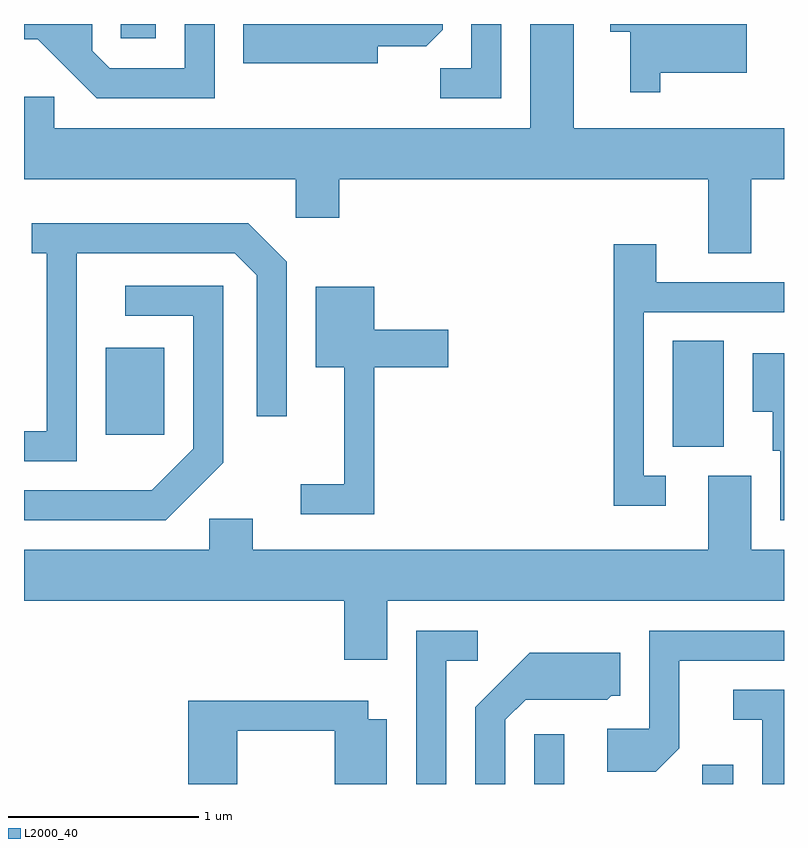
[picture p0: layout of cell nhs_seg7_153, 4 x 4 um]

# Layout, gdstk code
import gdstk
lib = gdstk.Library(unit=1e-6, precision=1e-09)
def R(c, l, rs):  # rectangles x0, y0, x1, y1
    for r in rs: c.add(gdstk.rectangle(r[:2], r[2:], *l))
def P(c, l, *ps):  # polygons
    for p in ps: c.add(gdstk.Polygon(p, *l))
L2000_40 = (2000, 40)

nhs_seg7_153 = lib.new_cell('nhs_seg7_153')
R(nhs_seg7_153, L2000_40, [(192.296,1702.252,192.454,1702.513), (193.181,1702.252,193.344,1702.353), (193.026,1704.026,193.294,1704.584), (190.041,1704.091,190.349,1704.549), (190.121,1706.176,190.304,1706.252)])
P(nhs_seg7_153, L2000_40, [(192.124,1706.252),(191.966,1706.252),(191.966,1706.019),(191.803,1706.019),(191.803,1705.861),(192.124,1705.861)],
  [(193.439,1705.436),(193.611,1705.436),(193.611,1705.704),(192.504,1705.704),(192.504,1706.252),(192.276,1706.252),(192.276,1705.704),(189.769,1705.704),(189.769,1705.869),(189.611,1705.869),(189.611,1705.436),(191.041,1705.436),(191.041,1705.231),(191.269,1705.231),(191.269,1705.436),(193.211,1705.436),(193.211,1705.046),(193.439,1705.046)],
  [(191.474,1706.136),(191.729,1706.136),(191.814,1706.222),(191.814,1706.252),(190.766,1706.252),(190.766,1706.046),(191.474,1706.046)],
  [(190.614,1706.252),(190.456,1706.252),(190.456,1706.019),(190.062,1706.019),(189.969,1706.112),(189.969,1706.252),(189.611,1706.252),(189.611,1706.171),(189.684,1706.171),(189.994,1705.861),(190.614,1705.861)],
  [(192.959,1705.996),(193.414,1705.996),(193.414,1706.252),(192.696,1706.252),(192.696,1706.211),(192.801,1706.211),(192.801,1705.893),(192.959,1705.893)],
  [(189.889,1705.046),(190.719,1705.046),(190.836,1704.929),(190.836,1704.188),(190.994,1704.188),(190.994,1705.002),(190.792,1705.204),(189.653,1705.204),(189.653,1705.046),(189.731,1705.046),(189.731,1704.109),(189.611,1704.109),(189.611,1703.951),(189.889,1703.951)],
  [(192.988,1703.874),(192.874,1703.874),(192.874,1704.736),(193.611,1704.736),(193.611,1704.894),(192.939,1704.894),(192.939,1705.094),(192.716,1705.094),(192.716,1703.716),(192.988,1703.716)],
  [(190.659,1703.944),(190.659,1704.874),(190.143,1704.874),(190.143,1704.716),(190.501,1704.716),(190.501,1704.017),(190.284,1703.799),(189.611,1703.799),(189.611,1703.641),(190.357,1703.641)],
  [(191.454,1704.446),(191.844,1704.446),(191.844,1704.644),(191.454,1704.644),(191.454,1704.869),(191.146,1704.869),(191.146,1704.446),(191.296,1704.446),(191.296,1703.829),(191.068,1703.829),(191.068,1703.671),(191.454,1703.671)],
  [(193.611,1704.519),(193.446,1704.519),(193.446,1704.211),(193.551,1704.211),(193.551,1704.006),(193.591,1704.006),(193.591,1703.641),(193.611,1703.641)],
  [(191.524,1703.216),(193.611,1703.216),(193.611,1703.484),(193.439,1703.484),(193.439,1703.874),(193.211,1703.874),(193.211,1703.484),(190.814,1703.484),(190.814,1703.649),(190.586,1703.649),(190.586,1703.484),(189.611,1703.484),(189.611,1703.216),(191.296,1703.216),(191.296,1702.906),(191.524,1702.906)],
  [(191.834,1702.901),(191.998,1702.901),(191.998,1703.059),(191.676,1703.059),(191.676,1702.252),(191.834,1702.252)],
  [(193.059,1702.439),(193.059,1702.901),(193.611,1702.901),(193.611,1703.059),(192.901,1703.059),(192.901,1702.544),(192.681,1702.544),(192.681,1702.316),(192.937,1702.316)],
  [(192.144,1702.589),(192.252,1702.696),(192.682,1702.696),(192.702,1702.716),(192.749,1702.716),(192.749,1702.944),(192.274,1702.944),(191.986,1702.657),(191.986,1702.252),(192.144,1702.252)],
  [(193.611,1702.749),(193.343,1702.749),(193.343,1702.591),(193.496,1702.591),(193.496,1702.252),(193.611,1702.252)],
  [(190.734,1702.531),(191.246,1702.531),(191.246,1702.252),(191.519,1702.252),(191.519,1702.594),(191.424,1702.594),(191.424,1702.689),(190.476,1702.689),(190.476,1702.252),(190.734,1702.252)])

lib.write_gds('nhs_seg7_153.gds')
